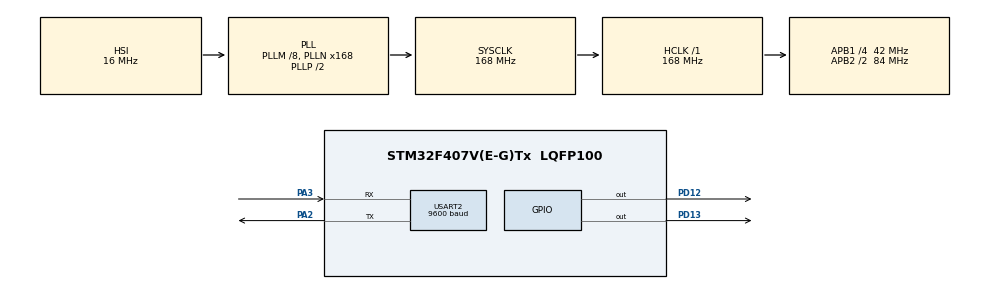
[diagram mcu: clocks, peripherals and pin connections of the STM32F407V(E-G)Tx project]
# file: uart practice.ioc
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Mcu.Family=STM32F4
Mcu.Name=STM32F407V(E-G)Tx
Mcu.Package=LQFP100
NVIC.PriorityGroup=NVIC_PRIORITYGROUP_4
NVIC.USART2_IRQn=true\:0\:0\:false\:false\:true\:true
PA2.Mode=Asynchronous
PA2.Signal=USART2_TX
PA3.Mode=Asynchronous
PA3.Signal=USART2_RX
PD12.Signal=GPIO_Output
PD13.Signal=GPIO_Output
PH0-OSC_IN.Mode=HSE-External-Oscillator
PH0-OSC_IN.Signal=RCC_OSC_IN
PH1-OSC_OUT.Mode=HSE-External-Oscillator
PH1-OSC_OUT.Signal=RCC_OSC_OUT
ProjectManager.HeapSize=0x200
ProjectManager.StackSize=0x400
ProjectManager.TargetToolchain=TrueSTUDIO
RCC.48MHZClocksFreq_Value=84000000
RCC.AHBFreq_Value=168000000
RCC.APB1CLKDivider=RCC_HCLK_DIV4
RCC.APB1Freq_Value=42000000
RCC.APB1TimFreq_Value=84000000
RCC.APB2CLKDivider=RCC_HCLK_DIV2
RCC.APB2Freq_Value=84000000
RCC.APB2TimFreq_Value=168000000
RCC.CortexFreq_Value=168000000
RCC.HCLKFreq_Value=168000000
RCC.HSE_VALUE=8000000
RCC.HSI_VALUE=16000000
RCC.LSE_VALUE=32768
RCC.PLLM=8
RCC.PLLN=168
RCC.SYSCLKFreq_VALUE=168000000
RCC.SYSCLKSource=RCC_SYSCLKSOURCE_PLLCLK
RCC.VCOOutputFreq_Value=336000000
USART2.BaudRate=9600
USART2.VirtualMode=VM_ASYNC
board=uart practice

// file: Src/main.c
/**
  ******************************************************************************
  * File Name          : main.c
  * Description        : Main program body
  ******************************************************************************
  ** This notice applies to any and all portions of this file
  * that are not between comment pairs USER CODE BEGIN and
  * USER CODE END. Other portions of this file, whether
  * inserted by the user or by software development tools
  * are owned by their respective copyright owners.
  *
  * COPYRIGHT(c) 2018 STMicroelectronics
  *
  * Redistribution and use in source and binary forms, with or without modification,
  * are permitted provided that the following conditions are met:
  *   1. Redistributions of source code must retain the above copyright notice,
  *      this list of conditions and the following disclaimer.
  *   2. Redistributions in binary form must reproduce the above copyright notice,
  *      this list of conditions and the following disclaimer in the documentation
  *      and/or other materials provided with the distribution.
  *   3. Neither the name of STMicroelectronics nor the names of its contributors
  *      may be used to endorse or promote products derived from this software
  *      without specific prior written permission.
  *
  * THIS SOFTWARE IS PROVIDED BY THE COPYRIGHT HOLDERS AND CONTRIBUTORS "AS IS"
  * AND ANY EXPRESS OR IMPLIED WARRANTIES, INCLUDING, BUT NOT LIMITED TO, THE
  * IMPLIED WARRANTIES OF MERCHANTABILITY AND FITNESS FOR A PARTICULAR PURPOSE ARE
  * DISCLAIMED. IN NO EVENT SHALL THE COPYRIGHT HOLDER OR CONTRIBUTORS BE LIABLE
  * FOR ANY DIRECT, INDIRECT, INCIDENTAL, SPECIAL, EXEMPLARY, OR CONSEQUENTIAL
  * DAMAGES (INCLUDING, BUT NOT LIMITED TO, PROCUREMENT OF SUBSTITUTE GOODS OR
  * SERVICES; LOSS OF USE, DATA, OR PROFITS; OR BUSINESS INTERRUPTION) HOWEVER
  * CAUSED AND ON ANY THEORY OF LIABILITY, WHETHER IN CONTRACT, STRICT LIABILITY,
  * OR TORT (INCLUDING NEGLIGENCE OR OTHERWISE) ARISING IN ANY WAY OUT OF THE USE
  * OF THIS SOFTWARE, EVEN IF ADVISED OF THE POSSIBILITY OF SUCH DAMAGE.
  *
  ******************************************************************************
  */

#include "main.h"
#include "stm32f4xx_hal.h"

UART_HandleTypeDef huart2;

/* USER CODE BEGIN PV */
/* Private variables ---------------------------------------------------------*/

/* USER CODE END PV */

void SystemClock_Config(void);
static void MX_GPIO_Init(void);
static void MX_USART2_UART_Init(void);

/* USER CODE BEGIN PFP */
/* Private function prototypes -----------------------------------------------*/
uint8_t buffer[10];
uint8_t tx_flag=1;
uint8_t tx_buffer=0;
void HAL_UART_TxCpltCallback(UART_HandleTypeDef *huart)
{
	tx_flag=1;

}
/* USER CODE END PFP */

int main(void)
{

  /* MCU Configuration----------------------------------------------------------*/

  /* Reset of all peripherals, Initializes the Flash interface and the Systick. */
  HAL_Init();

  /* Configure the system clock */
  SystemClock_Config();

  /* Initialize all configured peripherals */
  MX_GPIO_Init();
  MX_USART2_UART_Init();

  /* USER CODE BEGIN 2 */
uint8_t buffer[15]="hello world!\n";
uint8_t buffer2[15]="how are you\n";
  /* USER CODE END 2 */

  /* Infinite loop */
  while (1)
  {

  /* USER CODE BEGIN 3 */
	  if(tx_flag==1)
	  {
		  tx_flag=0;
		  if(tx_buffer==0)
		  {
			  tx_buffer = 1;
			  HAL_UART_Transmit_IT(&huart2,(uint8_t *)buffer, 15);
		  }
		  else
		  {
			  tx_buffer = 0;
			  HAL_UART_Transmit_IT(&huart2,(uint8_t *)buffer2, 15);
		  }
	  }

  HAL_GPIO_TogglePin(GPIOD, GPIO_PIN_12);
  HAL_Delay(500);
  }
  /* USER CODE END 3 */

}

/** System Clock Configuration
*/
void SystemClock_Config(void)
{

  RCC_OscInitTypeDef RCC_OscInitStruct;
  RCC_ClkInitTypeDef RCC_ClkInitStruct;

    /**Configure the main internal regulator output voltage
    */
  __HAL_RCC_PWR_CLK_ENABLE();

  __HAL_PWR_VOLTAGESCALING_CONFIG(PWR_REGULATOR_VOLTAGE_SCALE1);

    /**Initializes the CPU, AHB and APB busses clocks
    */
  RCC_OscInitStruct.OscillatorType = RCC_OSCILLATORTYPE_HSI;
  RCC_OscInitStruct.HSIState = RCC_HSI_ON;
  RCC_OscInitStruct.HSICalibrationValue = 16;
  RCC_OscInitStruct.PLL.PLLState = RCC_PLL_ON;
  RCC_OscInitStruct.PLL.PLLSource = RCC_PLLSOURCE_HSI;
  RCC_OscInitStruct.PLL.PLLM = 8;
  RCC_OscInitStruct.PLL.PLLN = 168;
  RCC_OscInitStruct.PLL.PLLP = RCC_PLLP_DIV2;
  RCC_OscInitStruct.PLL.PLLQ = 4;
  if (HAL_RCC_OscConfig(&RCC_OscInitStruct) != HAL_OK)
  {
    _Error_Handler(__FILE__, __LINE__);
  }

    /**Initializes the CPU, AHB and APB busses clocks
    */
  RCC_ClkInitStruct.ClockType = RCC_CLOCKTYPE_HCLK|RCC_CLOCKTYPE_SYSCLK
                              |RCC_CLOCKTYPE_PCLK1|RCC_CLOCKTYPE_PCLK2;
  RCC_ClkInitStruct.SYSCLKSource = RCC_SYSCLKSOURCE_PLLCLK;
  RCC_ClkInitStruct.AHBCLKDivider = RCC_SYSCLK_DIV1;
  RCC_ClkInitStruct.APB1CLKDivider = RCC_HCLK_DIV4;
  RCC_ClkInitStruct.APB2CLKDivider = RCC_HCLK_DIV2;

  if (HAL_RCC_ClockConfig(&RCC_ClkInitStruct, FLASH_LATENCY_5) != HAL_OK)
  {
    _Error_Handler(__FILE__, __LINE__);
  }

    /**Configure the Systick interrupt time
    */
  HAL_SYSTICK_Config(HAL_RCC_GetHCLKFreq()/1000);

    /**Configure the Systick
    */
  HAL_SYSTICK_CLKSourceConfig(SYSTICK_CLKSOURCE_HCLK);

  /* SysTick_IRQn interrupt configuration */
  HAL_NVIC_SetPriority(SysTick_IRQn, 0, 0);
}

/* USART2 init function */
static void MX_USART2_UART_Init(void)
{

  huart2.Instance = USART2;
  huart2.Init.BaudRate = 9600;
  huart2.Init.WordLength = UART_WORDLENGTH_8B;
  huart2.Init.StopBits = UART_STOPBITS_1;
  huart2.Init.Parity = UART_PARITY_NONE;
  huart2.Init.Mode = UART_MODE_TX_RX;
  huart2.Init.HwFlowCtl = UART_HWCONTROL_NONE;
  huart2.Init.OverSampling = UART_OVERSAMPLING_16;
  if (HAL_UART_Init(&huart2) != HAL_OK)
  {
    _Error_Handler(__FILE__, __LINE__);
  }

}

/** Configure pins as
        * Analog
        * Input
        * Output
        * EVENT_OUT
        * EXTI
*/
static void MX_GPIO_Init(void)
{

  GPIO_InitTypeDef GPIO_InitStruct;

  /* GPIO Ports Clock Enable */
  __HAL_RCC_GPIOH_CLK_ENABLE();
  __HAL_RCC_GPIOA_CLK_ENABLE();
  __HAL_RCC_GPIOD_CLK_ENABLE();

  /*Configure GPIO pin Output Level */
  HAL_GPIO_WritePin(GPIOD, GPIO_PIN_12|GPIO_PIN_13, GPIO_PIN_RESET);

  /*Configure GPIO pins : PD12 PD13 */
  GPIO_InitStruct.Pin = GPIO_PIN_12|GPIO_PIN_13;
  GPIO_InitStruct.Mode = GPIO_MODE_OUTPUT_PP;
  GPIO_InitStruct.Pull = GPIO_NOPULL;
  GPIO_InitStruct.Speed = GPIO_SPEED_FREQ_LOW;
  HAL_GPIO_Init(GPIOD, &GPIO_InitStruct);

}

void _Error_Handler(char * file, int line)
{
  while(1)
  {
  }
}

/************************ (C) COPYRIGHT STMicroelectronics *****END OF FILE****/
